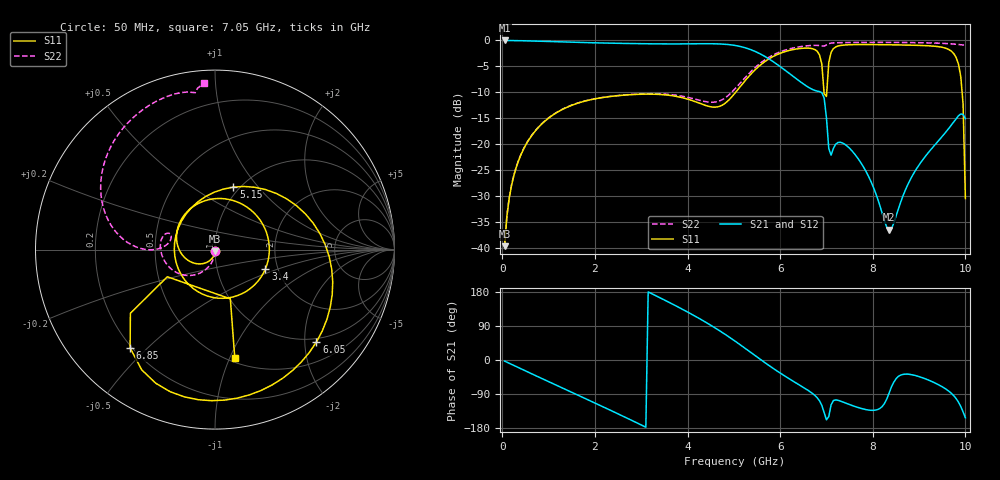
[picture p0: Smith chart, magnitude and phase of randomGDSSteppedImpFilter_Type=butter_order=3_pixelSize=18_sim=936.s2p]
! freq	dB(S11)	phase(S11)	dB(S12)	phase(S12)
!  dB(S21)	phase(S21)	dB(S22)	phase(S22)
!S-par simulation data
#  GHz  S  DB  R 50
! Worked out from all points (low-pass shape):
!   200 points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, 50 MHz to 10 GHz, reference 50 ohm
!   highest |S21| = -0.02 dB at 50 MHz (marker M1); lowest = -36.6 dB at 8.35 GHz (marker M2)
!   |S21| within 3 dB of the highest: start of sweep to 5.654 GHz
!   lowest |S11| = -39.7 dB at 50 MHz (marker M3), VSWR 1.02, Z = 50 - j1.03 ohm
!   |S11| at or under -10 dB: start of sweep to 5.042 GHz; 6.947 GHz to 7.006 GHz (58.89 MHz wide, 0.844 % of centre); 9.929 GHz to end of sweep
!   |S22| runs from -39.7 to -0.4 dB; largest |S21 - S12| = 0
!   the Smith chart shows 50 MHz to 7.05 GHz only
!   S11 on the Smith chart (normalised r, x): 50 MHz: 1.00, -0.02; 3.4 GHz: 1.72, -0.41; 5.15 GHz: 0.94, +0.75; 6.05 GHz: 0.91, -2.26; 6.85 GHz: 0.19, -0.44; 7.05 GHz: 0.54, -1.04
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0.05  -39.72 -86.7  -0.02 -2.9  -0.02 -2.9  -39.68 -84.6
0.2  -27.98 -103.6  -0.03 -11.6  -0.03 -11.6  -27.89 -96.5
0.5  -20.30 -128.0  -0.09 -28.7  -0.09 -28.7  -20.23 -109.5
1.75  -11.80 132.3  -0.42 -99.4  -0.42 -99.4  -11.77 -152.4
2.65  -10.56 51.9  -0.59 -150.8  -0.59 -150.8  -10.52 -174.5
3.4  -10.44 -21.1  -0.68 164.6  -0.68 164.6  -10.32 170.3
4.35  -12.44 -134.9  -0.65 102.7  -0.65 102.7  -11.75 161.9
5.05  -9.91 90.9  -1.02 47.8  -1.02 47.8  -9.11 -179.9
5.15  -8.80 73.6  -1.20 39.1  -1.20 39.1  -8.12 179.8
5.65  -4.22 2.5  -3.00 -5.2  -3.00 -5.2  -3.89 162.3
6.05  -2.33 -42.4  -5.38 -38.4  -5.38 -38.4  -2.05 140.8
6.7  -1.61 -107.4  -9.48 -88.4  -9.48 -88.4  -0.97 107.0
6.85  -2.81 -130.8  -9.89 -107.7  -9.89 -107.7  -1.00 100.0
6.95  -10.29 -150.3  -11.14 -138.5  -11.14 -138.5  -1.10 97.2
7.05  -4.26 -79.6  -20.90 -149.3  -20.90 -149.3  -0.64 93.8
7.2  -1.26 -111.7  -20.03 -105.3  -20.03 -105.3  -0.46 85.6
7.55  -0.82 -145.7  -21.32 -119.9  -21.32 -119.9  -0.41 69.7
8.35  -0.85 156.2  -36.57 -88.2  -36.57 -88.2  -0.39 36.9
9.2  -1.04 91.6  -21.66 -52.8  -21.66 -52.8  -0.49 4.1
9.8  -3.31 23.7  -15.10 -101.8  -15.10 -101.8  -0.75 -18.2
9.95  -12.23 -14.2  -14.29 -136.8  -14.29 -136.8  -0.89 -22.7
10  -30.53 72.5  -15.11 -152.4  -15.11 -152.4  -0.87 -23.9
